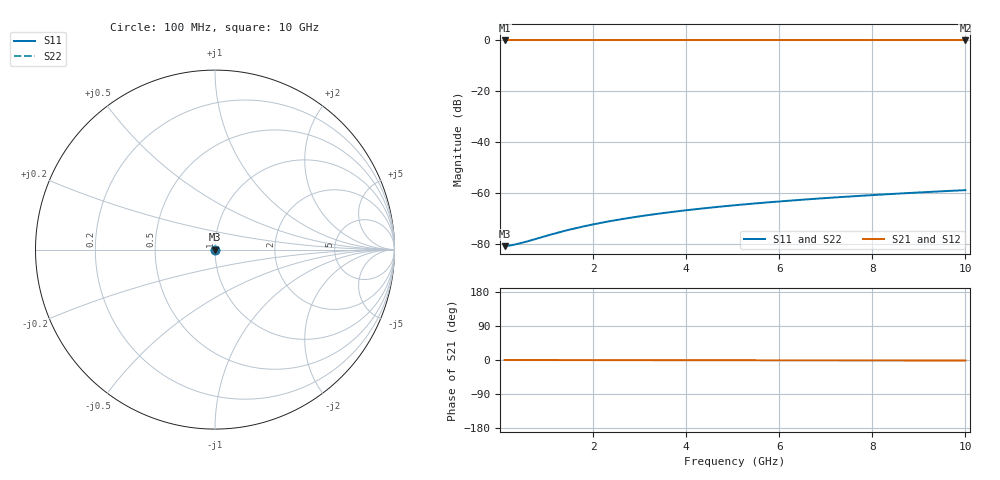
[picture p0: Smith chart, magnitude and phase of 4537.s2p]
# Hz S RI R 50.00
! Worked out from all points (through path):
!   100 points, 100 MHz to 10 GHz, reference 50 ohm
!   highest |S21| = 0.00 dB at 100 MHz (marker M1); lowest = 0.0 dB at 10 GHz (marker M2)
!   lowest |S11| = -80.9 dB at 100 MHz (marker M3), VSWR 1.00, Z = 50 - j0.00112 ohm
!   |S11| at or under -10 dB: start of sweep to end of sweep
!   |S22| runs from -80.9 to -58.8 dB; largest |S21 - S12| = 1e-15
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1e8  8.97e-05 -1.12e-05  0.9999 -0.000228  0.9999 -0.000228  8.97e-05 -1.12e-05
3e8  9.05e-05 -3.35e-05  0.9999 -0.000683  0.9999 -0.000683  9.05e-05 -3.35e-05
4e8  9.08e-05 -4.47e-05  0.9999 -0.00091  0.9999 -0.00091  9.08e-05 -4.47e-05
6e8  9.11e-05 -6.71e-05  0.9999 -0.00137  0.9999 -0.00137  9.11e-05 -6.71e-05
1e9  9.14e-05 -0.000112  0.9999 -0.00228  0.9999 -0.00228  9.14e-05 -0.000112
1.3e9  9.14e-05 -0.000146  0.9999 -0.00296  0.9999 -0.00296  9.14e-05 -0.000146
1.5e9  9.14e-05 -0.000168  0.9999 -0.00341  0.9999 -0.00341  9.14e-05 -0.000168
1.8e9  9.13e-05 -0.000202  0.9999 -0.0041  0.9999 -0.0041  9.13e-05 -0.000202
2.1e9  9.11e-05 -0.000235  0.9999 -0.00478  0.9999 -0.00478  9.11e-05 -0.000235
2.5e9  9.07e-05 -0.000281  0.9999 -0.00569  0.9999 -0.00569  9.07e-05 -0.000281
2.9e9  9.02e-05 -0.000326  0.9999 -0.0066  0.9999 -0.0066  9.02e-05 -0.000326
3.4e9  8.94e-05 -0.000382  0.9999 -0.00774  0.9999 -0.00774  8.94e-05 -0.000382
3.8e9  8.87e-05 -0.000428  0.9999 -0.00866  0.9999 -0.00866  8.87e-05 -0.000428
4.2e9  8.79e-05 -0.000473  0.9999 -0.00957  0.9999 -0.00957  8.79e-05 -0.000473
4.6e9  8.7e-05 -0.000519  0.9998 -0.0105  0.9998 -0.0105  8.7e-05 -0.000519
5.1e9  8.57e-05 -0.000576  0.9998 -0.0116  0.9998 -0.0116  8.57e-05 -0.000576
5.9e9  8.35e-05 -0.000667  0.9998 -0.0135  0.9998 -0.0135  8.35e-05 -0.000667
6.7e9  8.08e-05 -0.000759  0.9998 -0.0153  0.9998 -0.0153  8.08e-05 -0.000759
7.5e9  7.78e-05 -0.000851  0.9997 -0.0171  0.9997 -0.0171  7.78e-05 -0.000851
8.4e9  7.41e-05 -0.000955  0.9997 -0.0192  0.9997 -0.0192  7.41e-05 -0.000955
9.2e9  7.04e-05 -0.00105  0.9997 -0.021  0.9997 -0.021  7.04e-05 -0.00105
1e10  6.64e-05 -0.00114  0.9996 -0.0229  0.9996 -0.0229  6.64e-05 -0.00114
